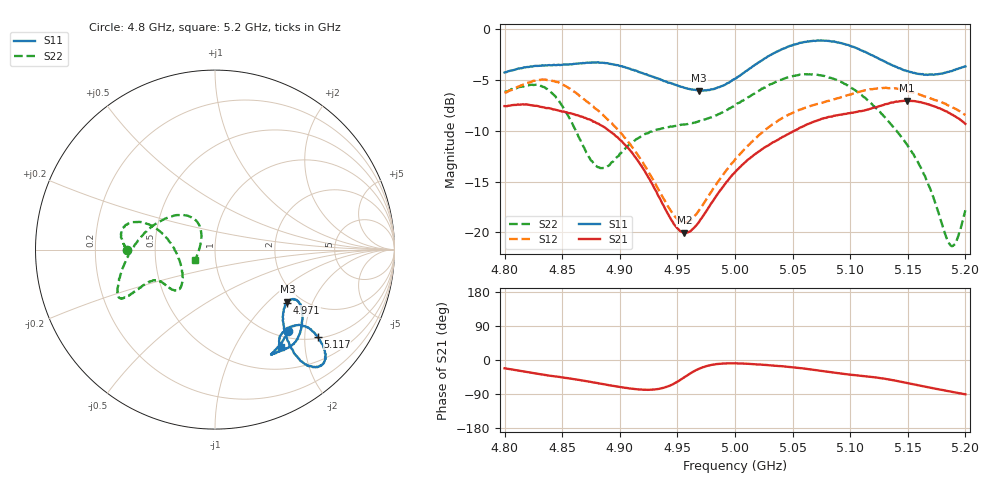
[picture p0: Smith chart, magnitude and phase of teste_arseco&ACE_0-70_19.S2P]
! Network Analyzer HP8722D
! Hewlett-Packard
! Data name: Linha & Wilkinson
! Saver's name: Rodrigo Anjos
! Comments: Teste da utilização de aquisição
! continua pelo VNA HP8722D
! Time and date: 8/5/2025 12:55
!  Frequency  S11  S21  S12  S22
# HZ  S  MA R 50
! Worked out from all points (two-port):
!   401 points, 4.8 GHz to 5.2 GHz, reference 50 ohm
!   highest |S21| = -7.06 dB at 5.149 GHz (marker M1); lowest = -20.0 dB at 4.956 GHz (marker M2)
!   |S21| within 3 dB of the highest: start of sweep to 4.891 GHz; 5.051 GHz to end of sweep
!   lowest |S11| = -6.1 dB at 4.969 GHz (marker M3), VSWR 2.98, Z = 85.6 - j66 ohm
!   |S11| at or under -10 dB: nowhere
!   |S22| runs from -21.4 to -4.5 dB; largest |S21 - S12| = 0.95
!   S11 on the Smith chart (normalised r, x): 4.8 GHz: 1.13, -1.63; 4.971 GHz: 1.68, -1.32; 5.117 GHz: 1.05, -2.32; 5.2 GHz: 0.83, -1.57
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4.8e9  0.6104 -47.9  0.4175 -21.9  0.4849 -175.5  0.4912 -180.0
4.836e9  0.6616 -61.5  0.4081 -39.8  0.5625 168.1  0.5092 164.2
4.851e9  0.6678 -60.0  0.3924 -46.3  0.5305 158.7  0.4104 159.3
4.867e9  0.6768 -54.7  0.3705 -54.1  0.4597 150.8  0.2735 166.8
4.877e9  0.6834 -51.5  0.3496 -59.1  0.4164 147.0  0.2192 -177.1
4.886e9  0.6808 -48.5  0.3303 -63.9  0.3748 144.2  0.2076 -158.2
4.909e9  0.6371 -40.4  0.2525 -75.2  0.2709 138.0  0.2716 -133.4
4.934e9  0.5679 -32.9  0.1495 -76.3  0.1615 141.3  0.3214 -135.3
4.956e9  0.5137 -32.4  0.09959 -45.5  0.1122 172.8  0.3392 -144.7
4.969e9  0.4971 -35.7  0.1132 -22.9  0.1289 -164.6  0.3528 -149.7
4.971e9  0.498 -36.5  0.1175 -20.5  0.1341 -162.1  0.3548 -150.2
5e9  0.5688 -47.8  0.1978 -8.8  0.228 -146.7  0.4206 -153.8
5.038e9  0.7807 -52.5  0.2866 -16.0  0.3562 -147.8  0.5577 -151.8
5.067e9  0.8714 -48.3  0.3477 -25.1  0.4207 -154.3  0.598 -154.8
5.094e9  0.8451 -43.3  0.3813 -36.6  0.4646 -161.8  0.5424 -165.6
5.117e9  0.7495 -40.2  0.4041 -44.1  0.5047 -172.4  0.4359 174.4
5.134e9  0.6747 -40.1  0.4312 -51.4  0.5113 177.4  0.3475 153.3
5.149e9  0.621 -42.7  0.4438 -60.4  0.4958 169.0  0.2718 135.0
5.167e9  0.5942 -48.8  0.4267 -71.7  0.4617 160.9  0.1773 122.8
5.187e9  0.6192 -54.8  0.3831 -83.2  0.4164 153.9  0.08647 159.0
5.192e9  0.6342 -55.4  0.3689 -86.0  0.4034 152.1  0.08969 -177.9
5.2e9  0.6544 -55.6  0.3415 -90.5  0.377 149.6  0.1285 -151.9
